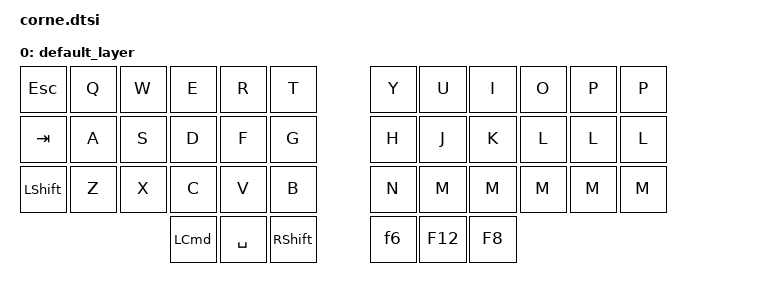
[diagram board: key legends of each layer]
#include <behaviors.dtsi>
#include <dt-bindings/zmk/keys.h>
#include <dt-bindings/zmk/bt.h>
/ {
    keymap {
        compatible = "zmk,keymap";
        // Row1
        // F11, q,w,e,r,t    y, u, i, o, p , ESC
        // Row2
        // 8,a,s,d,f,g    h, j, k, l, ;, '
        //Row3
        //7,z,x,c,v,b    n, m, ,, ., /
        //Row4
        //f10, F7, F9, F6, F12, F8
        default_layer {
            bindings = <
            //Row1
                // &td0        &td1        &td2        &td3        &td4        &td5
                &kp ESC         &kp Q       &kp W       &kp E       &kp R       &kp T                           &kp Y    &kp U        &kp I    &kp O    &kp P   &kp P
            //Row2
                &kp TAB         &kp A       &kp S       &kp D       &kp F       &kp G                           &kp H    &kp J        &kp K    &kp L    &kp L   &kp L
            //Row3
                &kp LSHIFT      &kp Z       &kp X       &kp C       &kp V       &kp B                           &kp N    &kp M        &kp M    &kp M    &kp M   &kp M
            //Row4
                                                                    &kp LCMD    &kp SPACE   &kp RSHFT   &kp f6  &kp F12 &kp F8    
            >;
    };
};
